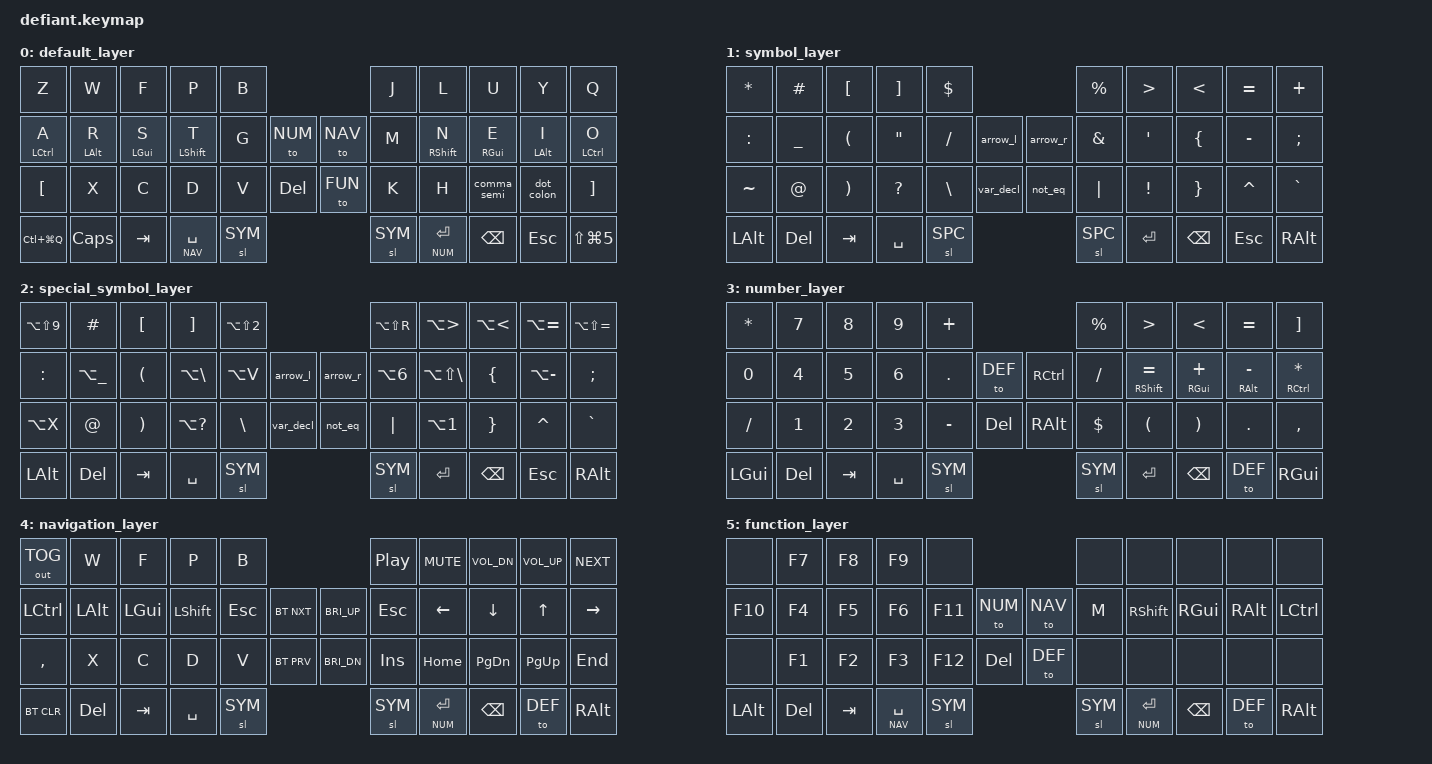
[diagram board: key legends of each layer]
#include <behaviors.dtsi>
#include <dt-bindings/zmk/bt.h>
#include <dt-bindings/zmk/keys.h>
#include <dt-bindings/zmk/outputs.h>

#define DEF 0 // alpha
#define SYM 1 // symbols
#define SPC 2 // special symbols
#define NUM 3 // number layer
#define NAV 4 // navigation layer
#define FUN 5 // function layer

/ {
    macros {
        var_decl: var_decl {
            compatible = "zmk,behavior-macro";
            #binding-cells = <0>;
            bindings = <&macro_tap>, <&kp COLON &kp EQUAL>;
        };

        not_eq: not_eq {
            compatible = "zmk,behavior-macro";
            #binding-cells = <0>;
            bindings = <&macro_tap>, <&kp EXCL &kp EQUAL>;
        };

        arrow_l: arrow_l {
            compatible = "zmk,behavior-macro";
            #binding-cells = <0>;
            bindings = <&macro_tap>, <&kp LT &kp MINUS>;
        };

        arrow_r: arrow_r {
            compatible = "zmk,behavior-macro";
            #binding-cells = <0>;
            bindings = <&macro_tap>, <&kp MINUS &kp GT>;
        };
    };
};

/ {
    behaviors {
        lhm: left_homerow_mods {
            compatible = "zmk,behavior-hold-tap";
            #binding-cells = <2>;
            flavor = "tap-unless-interrupted";
            tapping-term-ms = <100>;
            quick-tap-ms = <200>;
            bindings = <&kp>, <&kp>;

            hold-trigger-key-positions = <5 6 7 8 9 16 17 18 19 20 21 28 29 30 31 32 33 39 40 41 42 43>;
        };

        rhm: right_homerow_mods {
            compatible = "zmk,behavior-hold-tap";
            #binding-cells = <2>;
            flavor = "tap-unless-interrupted";
            tapping-term-ms = <100>;
            quick-tap-ms = <200>;
            bindings = <&kp>, <&kp>;

            hold-trigger-key-positions = <0 1 2 3 4 9 10 11 12 13 14 15 22 23 24 25 26 27 34 35 36 37 38>;
        };

        hll: hold_long {
            compatible = "zmk,behavior-hold-tap";
            label = "Hold-Tap Long";
            #binding-cells = <2>;
            flavor = "tap-preferred";
            bindings = <&kp>, <&kp>;

            tapping-term-ms = <400>;
            quick-tap-ms = <100>;
            global-quick-tap;
        };

        hl: hold {
            compatible = "zmk,behavior-hold-tap";
            label = "Hold-Tap";
            #binding-cells = <2>;
            flavor = "tap-preferred";
            bindings = <&kp>, <&kp>;

            tapping-term-ms = <300>;
            quick-tap-ms = <100>;
            global-quick-tap;
        };

        hls: hold_short {
            compatible = "zmk,behavior-hold-tap";
            label = "Hold-Tap Short";
            #binding-cells = <2>;
            flavor = "tap-preferred";
            bindings = <&kp>, <&kp>;

            tapping-term-ms = <200>;
            quick-tap-ms = <100>;
            global-quick-tap;
        };

        dot_colon: dot_colon {
            compatible = "zmk,behavior-mod-morph";
            label = "DOT_COLON";
            bindings = <&kp PERIOD>, <&kp COLON>;

            #binding-cells = <0>;
            mods = <(MOD_LSFT|MOD_RSFT)>;
        };

        comma_semi: comma_semi {
            compatible = "zmk,behavior-mod-morph";
            label = "COMMA_SEMI";
            bindings = <&kp COMMA>, <&kp SEMI>;

            #binding-cells = <0>;
            mods = <(MOD_RSFT|MOD_LSFT)>;
        };

        combos {
            compatible = "zmk,combos";

            reset_right {
                bindings = <&bootloader>;
                key-positions = <16 28 43>;

                // layers = <0 2>;
            };

            reset_left {
                bindings = <&bootloader>;
                key-positions = <15 27 34>;
            };
        };
    };

    combos {
        compatible = "zmk,combos";

        reset_right {
            bindings = <&bootloader>;
            key-positions = <16 28 43>;

            // layers = <0 2>;
        };

        reset_left {
            bindings = <&bootloader>;
            key-positions = <15 27 34>;
        };
    };

    keymap {
        compatible = "zmk,keymap";

        default_layer {
            bindings = <
&kp Z             &kp W        &kp F        &kp P          &kp B                      &kp J    &kp L         &kp U        &kp Y        &kp Q
&hll LCTRL A      &hll LALT R  &hll LGUI S  &hls LSHFT T   &kp G    &to NUM  &to NAV  &kp M    &hls RSHFT N  &hll RGUI E  &hll LALT I  &hll LCTRL O
&kp LEFT_BRACKET  &kp X        &kp C        &kp D          &kp V    &kp DEL  &to FUN  &kp K    &kp H         &comma_semi  &dot_colon   &kp RIGHT_BRACKET
&kp LC(LG(Q))     &kp CAPS     &kp TAB      &lt NAV SPACE  &sl SYM                    &sl SYM  &lt NUM RET   &kp BSPC     &kp ESC      &kp LS(LG(N5))
            >;
        };

        // TODO: Add layer for umlauts

        symbol_layer {
            bindings = <
&kp STAR   &kp HASH   &kp LBKT  &kp RBKT   &kp DOLLAR                       &kp PRCNT  &kp GT    &kp LT    &kp EQUAL  &kp PLUS
&kp COLON  &kp UNDER  &kp LPAR  &kp DQT    &kp FSLH    &arrow_l   &arrow_r  &kp AMPS   &kp SQT   &kp LBRC  &kp MINUS  &kp SEMI
&kp TILDE  &kp AT     &kp RPAR  &kp QMARK  &kp BSLH    &var_decl  &not_eq   &kp PIPE   &kp EXCL  &kp RBRC  &kp CARET  &kp GRAVE
&kp LALT   &kp DEL    &kp TAB   &kp SPACE  &sl SPC                          &sl SPC    &kp RET   &kp BSPC  &kp ESC    &kp RALT
            >;
        };

        special_symbol_layer {
            bindings = <
&kp LA(LS(9))  &kp HASH       &kp LBKT  &kp RBKT       &kp LA(LS(2))                       &kp LA(LS(R))  &kp LA(GT)        &kp LA(LT)  &kp LA(EQUAL)  &kp LA(LS(EQUAL))
&kp COLON      &kp LA(UNDER)  &kp LPAR  &kp LA(BSLH)   &kp LA(V)      &arrow_l   &arrow_r  &kp LA(6)      &kp LA(LS(BSLH))  &kp LBRC    &kp LA(MINUS)  &kp SEMI
&kp LA(X)      &kp AT         &kp RPAR  &kp LA(QMARK)  &kp BSLH       &var_decl  &not_eq   &kp PIPE       &kp LA(1)         &kp RBRC    &kp CARET      &kp GRAVE
&kp LALT       &kp DEL        &kp TAB   &kp SPACE      &sl SYM                             &sl SYM        &kp RET           &kp BSPC    &kp ESC        &kp RALT
            >;
        };

        number_layer {
            bindings = <
&kp STAR  &kp N7   &kp N8   &kp N9     &kp PLUS                       &kp PRCNT  &kp GT           &kp LT         &kp EQUAL       &kp RBKT
&kp N0    &kp N4   &kp N5   &kp N6     &kp DOT    &to DEF  &kp RCTRL  &kp FSLH   &mt RSHFT EQUAL  &mt RGUI PLUS  &mt RALT MINUS  &mt RCTRL STAR
&kp FSLH  &kp N1   &kp N2   &kp N3     &kp MINUS  &kp DEL  &kp RALT   &kp DLLR   &kp LPAR         &kp RPAR       &kp DOT         &kp COMMA
&kp LGUI  &kp DEL  &kp TAB  &kp SPACE  &sl SYM                        &sl SYM    &kp RET          &kp BSPC       &to DEF         &kp RGUI
            >;
        };

        navigation_layer {
            bindings = <
&out OUT_TOG  &kp W     &kp F     &kp P       &kp B                              &kp C_PP  &kp C_MUTE   &kp C_VOL_DN  &kp C_VOL_UP  &kp C_NEXT
&kp LCTRL     &kp LALT  &kp LGUI  &kp LSHIFT  &kp ESC  &bt BT_NXT  &kp C_BRI_UP  &kp ESC   &kp LEFT     &kp DOWN      &kp UP        &kp RIGHT
&kp COMMA     &kp X     &kp C     &kp D       &kp V    &bt BT_PRV  &kp C_BRI_DN  &kp INS   &kp HOME     &kp PG_DN     &kp PG_UP     &kp END
&bt BT_CLR    &kp DEL   &kp TAB   &kp SPACE   &sl SYM                            &sl SYM   &lt NUM RET  &kp BSPC      &to DEF       &kp RALT
            >;
        };

        function_layer {
            bindings = <
&none     &kp F7   &kp F8   &kp F9         &none                      &none    &none        &none     &none     &none
&kp F10   &kp F4   &kp F5   &kp F6         &kp F11  &to NUM  &to NAV  &kp M    &kp RSHFT    &kp RGUI  &kp RALT  &kp LCTRL
&none     &kp F1   &kp F2   &kp F3         &kp F12  &kp DEL  &to DEF  &none    &none        &none     &none     &none
&kp LALT  &kp DEL  &kp TAB  &lt NAV SPACE  &sl SYM                    &sl SYM  &lt NUM RET  &kp BSPC  &to DEF   &kp RALT
            >;
        };
    };
};
